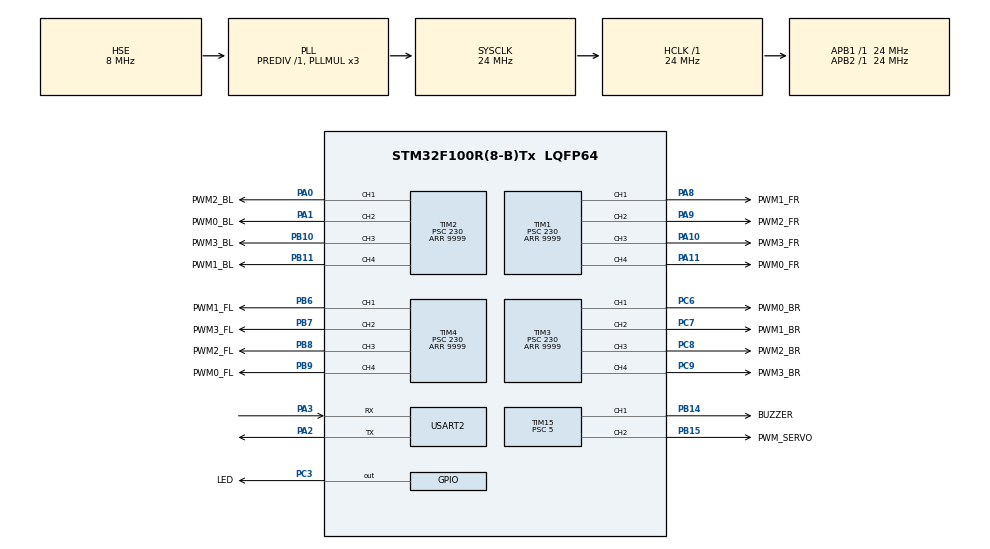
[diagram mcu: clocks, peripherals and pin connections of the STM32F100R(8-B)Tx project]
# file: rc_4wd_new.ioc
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Mcu.Family=STM32F1
Mcu.Name=STM32F100R(8-B)Tx
Mcu.Package=LQFP64
NVIC.PriorityGroup=NVIC_PRIORITYGROUP_4
PA0-WKUP.GPIO_Label=PWM2_BL
PA0-WKUP.Signal=S_TIM2_CH1_ETR
PA1.GPIO_Label=PWM0_BL
PA1.Signal=S_TIM2_CH2
PA10.GPIO_Label=PWM3_FR
PA10.Signal=S_TIM1_CH3
PA11.GPIO_Label=PWM0_FR
PA11.Signal=S_TIM1_CH4
PA13.Mode=Serial_Wire
PA13.Signal=SYS_JTMS-SWDIO
PA14.Mode=Serial_Wire
PA14.Signal=SYS_JTCK-SWCLK
PA2.Mode=Asynchronous
PA2.Signal=USART2_TX
PA3.Mode=Asynchronous
PA3.Signal=USART2_RX
PA8.GPIO_Label=PWM1_FR
PA8.Signal=S_TIM1_CH1
PA9.GPIO_Label=PWM2_FR
PA9.Signal=S_TIM1_CH2
PB10.GPIO_Label=PWM3_BL
PB10.Signal=S_TIM2_CH3
PB11.GPIO_Label=PWM1_BL
PB11.Signal=S_TIM2_CH4
PB14.GPIO_Label=BUZZER
PB14.Signal=S_TIM15_CH1
PB15.GPIO_Label=PWM_SERVO
PB15.Signal=S_TIM15_CH2
PB6.GPIO_Label=PWM1_FL
PB6.Signal=S_TIM4_CH1
PB7.GPIO_Label=PWM3_FL
PB7.Signal=S_TIM4_CH2
PB8.GPIO_Label=PWM2_FL
PB8.Signal=S_TIM4_CH3
PB9.GPIO_Label=PWM0_FL
PB9.Signal=S_TIM4_CH4
PC3.GPIO_Label=LED
PC3.Signal=GPIO_Output
PC6.GPIO_Label=PWM0_BR
PC6.Signal=S_TIM3_CH1
PC7.GPIO_Label=PWM1_BR
PC7.Signal=S_TIM3_CH2
PC8.GPIO_Label=PWM2_BR
PC8.Signal=S_TIM3_CH3
PC9.GPIO_Label=PWM3_BR
PC9.Signal=S_TIM3_CH4
PD0-OSC_IN.Mode=HSE-External-Oscillator
PD0-OSC_IN.Signal=RCC_OSC_IN
PD1-OSC_OUT.Mode=HSE-External-Oscillator
PD1-OSC_OUT.Signal=RCC_OSC_OUT
ProjectManager.HeapSize=0x200
ProjectManager.StackSize=0x400
ProjectManager.TargetToolchain=STM32CubeIDE
RCC.AHBFreq_Value=24000000
RCC.APB1Freq_Value=24000000
RCC.APB1TimFreq_Value=24000000
RCC.APB2Freq_Value=24000000
RCC.APB2TimFreq_Value=24000000
RCC.HCLKFreq_Value=24000000
RCC.PLLMUL=RCC_PLL_MUL3
RCC.PLLSource=RCC_PLLSOURCE_HSE
RCC.SYSCLKFreq_VALUE=24000000
RCC.SYSCLKSource=RCC_SYSCLKSOURCE_PLLCLK
SH.S_TIM15_CH1.0=TIM15_CH1,PWM Generation1 CH1
SH.S_TIM15_CH2.0=TIM15_CH2,PWM Generation2 CH2
SH.S_TIM1_CH1.0=TIM1_CH1,PWM Generation1 CH1
SH.S_TIM1_CH2.0=TIM1_CH2,PWM Generation2 CH2
SH.S_TIM1_CH3.0=TIM1_CH3,PWM Generation3 CH3
SH.S_TIM1_CH4.0=TIM1_CH4,PWM Generation4 CH4
SH.S_TIM2_CH1_ETR.0=TIM2_CH1,PWM Generation1 CH1
SH.S_TIM2_CH2.0=TIM2_CH2,PWM Generation2 CH2
SH.S_TIM2_CH3.0=TIM2_CH3,PWM Generation3 CH3
SH.S_TIM2_CH4.0=TIM2_CH4,PWM Generation4 CH4
SH.S_TIM3_CH1.0=TIM3_CH1,PWM Generation1 CH1
SH.S_TIM3_CH2.0=TIM3_CH2,PWM Generation2 CH2
SH.S_TIM3_CH3.0=TIM3_CH3,PWM Generation3 CH3
SH.S_TIM3_CH4.0=TIM3_CH4,PWM Generation4 CH4
SH.S_TIM4_CH1.0=TIM4_CH1,PWM Generation1 CH1
SH.S_TIM4_CH2.0=TIM4_CH2,PWM Generation2 CH2
SH.S_TIM4_CH3.0=TIM4_CH3,PWM Generation3 CH3
SH.S_TIM4_CH4.0=TIM4_CH4,PWM Generation4 CH4
TIM1.Channel-PWM\ Generation1\ CH1=TIM_CHANNEL_1
TIM1.Channel-PWM\ Generation2\ CH2=TIM_CHANNEL_2
TIM1.Channel-PWM\ Generation3\ CH3=TIM_CHANNEL_3
TIM1.Channel-PWM\ Generation4\ CH4=TIM_CHANNEL_4
TIM1.Period=9999
TIM1.Prescaler=230
TIM15.Channel-PWM\ Generation1\ CH1=TIM_CHANNEL_1
TIM15.Channel-PWM\ Generation2\ CH2=TIM_CHANNEL_2
TIM15.Period=2000
TIM15.Prescaler=5
TIM2.Channel-PWM\ Generation1\ CH1=TIM_CHANNEL_1
TIM2.Channel-PWM\ Generation2\ CH2=TIM_CHANNEL_2
TIM2.Channel-PWM\ Generation3\ CH3=TIM_CHANNEL_3
TIM2.Channel-PWM\ Generation4\ CH4=TIM_CHANNEL_4
TIM2.Period=9999
TIM2.Prescaler=230
TIM3.Channel-PWM\ Generation1\ CH1=TIM_CHANNEL_1
TIM3.Channel-PWM\ Generation2\ CH2=TIM_CHANNEL_2
TIM3.Channel-PWM\ Generation3\ CH3=TIM_CHANNEL_3
TIM3.Channel-PWM\ Generation4\ CH4=TIM_CHANNEL_4
TIM3.Period=9999
TIM3.Prescaler=230
TIM4.Channel-PWM\ Generation1\ CH1=TIM_CHANNEL_1
TIM4.Channel-PWM\ Generation2\ CH2=TIM_CHANNEL_2
TIM4.Channel-PWM\ Generation3\ CH3=TIM_CHANNEL_3
TIM4.Channel-PWM\ Generation4\ CH4=TIM_CHANNEL_4
TIM4.Period=9999
TIM4.Prescaler=230
USART2.VirtualMode=VM_ASYNC
VP_CRC_VS_CRC.Mode=CRC_Activate
board=custom

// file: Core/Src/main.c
/* USER CODE BEGIN Header */
/**
  ******************************************************************************
  * @file           : main.c
  * @brief          : Main program body
  ******************************************************************************
  * @attention
  *
  * Copyright (c) 2024 STMicroelectronics.
  * All rights reserved.
  *
  * This software is licensed under terms that can be found in the LICENSE file
  * in the root directory of this software component.
  * If no LICENSE file comes with this software, it is provided AS-IS.
  *
  ******************************************************************************
  */
/* USER CODE END Header */
#include "main.h"
#include "crc.h"
#include "tim.h"
#include "usart.h"
#include "gpio.h"

/* USER CODE BEGIN Includes */
#include "motor.h"
#include "data_processing.h"
#include "buzzer.h"
#include "led.h"
/* USER CODE END Includes */

/* USER CODE BEGIN PV */
uint8_t data_from_joystick[AMOUNT_BYTES_TO_RECEIVE];
uint8_t get_message_from_joystick = 0;
uint8_t btns_positions[4];
uint16_t joys_positions[4];
/* USER CODE END PV */

void SystemClock_Config(void);

int main(void)
{

  /* MCU Configuration--------------------------------------------------------*/

  /* Reset of all peripherals, Initializes the Flash interface and the Systick. */
  HAL_Init();

  /* Configure the system clock */
  SystemClock_Config();

  /* Initialize all configured peripherals */
  MX_GPIO_Init();
  MX_CRC_Init();
  MX_TIM1_Init();
  MX_TIM2_Init();
  MX_TIM3_Init();
  MX_TIM4_Init();
  MX_TIM15_Init();
  MX_USART2_UART_Init();
  /* USER CODE BEGIN 2 */
  motors_init();
  buzzer_init();
  led_init();
//	motor_set_direction_and_duty(B_RIGHT, -5000);
  /* USER CODE END 2 */

  /* Infinite loop */
  /* USER CODE BEGIN WHILE */
  while (1)
  {
	  HAL_UART_Receive_IT(&huart2, data_from_joystick, AMOUNT_BYTES_TO_RECEIVE);

	  if (get_message_from_joystick)
	  {
		  read_data_in(data_from_joystick, joys_positions, btns_positions);
		  get_message_from_joystick = 0;
	  }

	  motors_routine(joys_positions);
	  buzzer_routine(btns_positions);
	  led_routine(btns_positions);

//	  for (int16_t i = -10000; i < 10000; i++)
//	  {
//		  motor_set_direction_and_duty(B_RIGHT, i);
//		  HAL_Delay(10);
//	  }

    /* USER CODE END WHILE */

  }
}

void SystemClock_Config(void)
{
  RCC_OscInitTypeDef RCC_OscInitStruct = {0};
  RCC_ClkInitTypeDef RCC_ClkInitStruct = {0};

  /** Initializes the RCC Oscillators according to the specified parameters
  * in the RCC_OscInitTypeDef structure.
  */
  RCC_OscInitStruct.OscillatorType = RCC_OSCILLATORTYPE_HSE;
  RCC_OscInitStruct.HSEState = RCC_HSE_ON;
  RCC_OscInitStruct.HSEPredivValue = RCC_HSE_PREDIV_DIV1;
  RCC_OscInitStruct.PLL.PLLState = RCC_PLL_ON;
  RCC_OscInitStruct.PLL.PLLSource = RCC_PLLSOURCE_HSE;
  RCC_OscInitStruct.PLL.PLLMUL = RCC_PLL_MUL3;
  if (HAL_RCC_OscConfig(&RCC_OscInitStruct) != HAL_OK)
  {
    Error_Handler();
  }

  /** Initializes the CPU, AHB and APB buses clocks
  */
  RCC_ClkInitStruct.ClockType = RCC_CLOCKTYPE_HCLK|RCC_CLOCKTYPE_SYSCLK
                              |RCC_CLOCKTYPE_PCLK1|RCC_CLOCKTYPE_PCLK2;
  RCC_ClkInitStruct.SYSCLKSource = RCC_SYSCLKSOURCE_PLLCLK;
  RCC_ClkInitStruct.AHBCLKDivider = RCC_SYSCLK_DIV1;
  RCC_ClkInitStruct.APB1CLKDivider = RCC_HCLK_DIV1;
  RCC_ClkInitStruct.APB2CLKDivider = RCC_HCLK_DIV1;

  if (HAL_RCC_ClockConfig(&RCC_ClkInitStruct, FLASH_LATENCY_0) != HAL_OK)
  {
    Error_Handler();
  }
}

/* USER CODE BEGIN 4 */
void HAL_UART_RxCpltCallback(UART_HandleTypeDef *huart)
{
	get_message_from_joystick = 1;
}
/* USER CODE END 4 */

void Error_Handler(void)
{
  __disable_irq();
  while (1)
  {
  }
}
